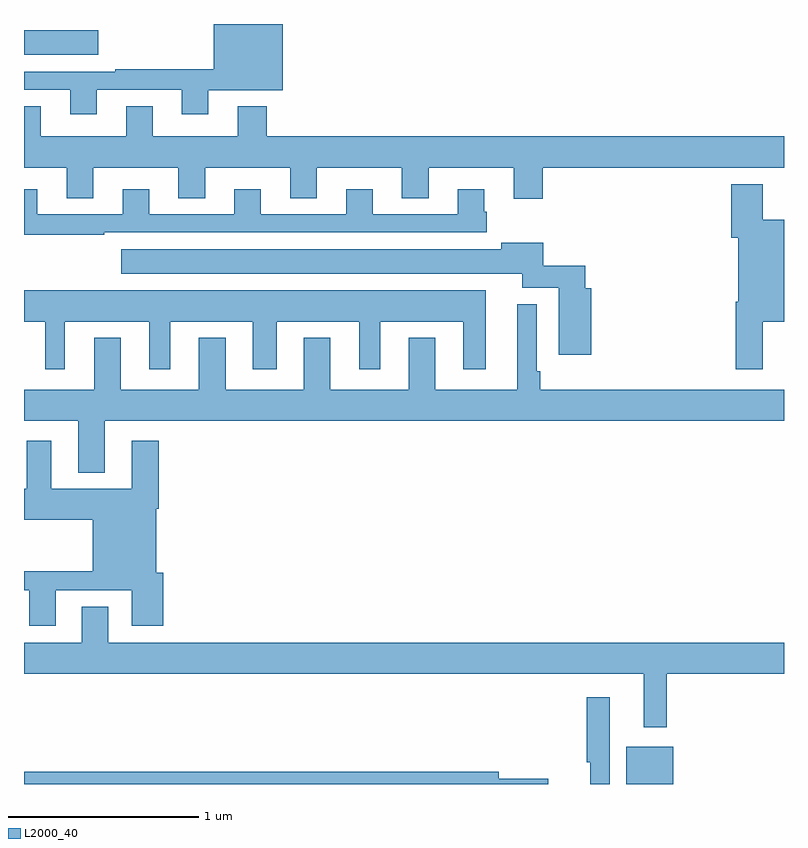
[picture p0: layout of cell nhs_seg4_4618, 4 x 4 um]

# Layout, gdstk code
import gdstk
lib = gdstk.Library(unit=1e-6, precision=1e-09)
def R(c, l, rs):  # rectangles x0, y0, x1, y1
    for r in rs: c.add(gdstk.rectangle(r[:2], r[2:], *l))
def P(c, l, *ps):  # polygons
    for p in ps: c.add(gdstk.Polygon(p, *l))
L2000_40 = (2000, 40)

nhs_seg4_4618 = lib.new_cell('nhs_seg4_4618')
R(nhs_seg4_4618, L2000_40, [(362.171,802.9,362.416,803.095), (359,806.738,359.392,806.866)])
P(nhs_seg4_4618, L2000_40, [(359.383,806.553),(359.831,806.553),(359.831,806.424),(359.971,806.424),(359.971,806.552),(360.361,806.552),(360.361,806.9),(359.999,806.9),(359.999,806.662),(359.479,806.662),(359.479,806.649),(359,806.649),(359,806.553),(359.243,806.553),(359.243,806.424),(359.383,806.424)],
  [(360.125,806.467),(360.125,806.308),(359.677,806.308),(359.677,806.468),(359.537,806.468),(359.537,806.308),(359.089,806.308),(359.089,806.468),(359,806.468),(359,806.144),(359.225,806.144),(359.225,805.984),(359.365,805.984),(359.365,806.144),(359.813,806.144),(359.813,805.984),(359.953,805.984),(359.953,806.144),(360.401,806.144),(360.401,805.984),(360.541,805.984),(360.541,806.144),(360.989,806.144),(360.989,805.984),(361.129,805.984),(361.129,806.144),(361.577,806.144),(361.577,805.98),(361.73,805.98),(361.73,806.144),(363,806.144),(363,806.308),(360.278,806.308),(360.278,806.467)],
  [(362.887,805.334),(363,805.334),(363,805.869),(362.887,805.869),(362.887,806.056),(362.723,806.056),(362.723,805.776),(362.759,805.776),(362.759,805.438),(362.747,805.438),(362.747,805.083),(362.887,805.083)],
  [(359.423,805.803),(361.436,805.803),(361.436,805.911),(361.423,805.911),(361.423,806.029),(361.283,806.029),(361.283,805.899),(360.835,805.899),(360.835,806.029),(360.695,806.029),(360.695,805.899),(360.247,805.899),(360.247,806.029),(360.107,806.029),(360.107,805.899),(359.659,805.899),(359.659,806.029),(359.519,806.029),(359.519,805.899),(359.071,805.899),(359.071,806.029),(359,806.029),(359,805.791),(359.423,805.791)],
  [(361.985,805.51),(361.955,805.51),(361.955,805.628),(361.732,805.628),(361.732,805.75),(361.511,805.75),(361.511,805.714),(359.511,805.714),(359.511,805.586),(361.622,805.586),(361.622,805.512),(361.814,805.512),(361.814,805.158),(361.985,805.158)],
  [(359.215,805.334),(359.66,805.334),(359.66,805.083),(359.77,805.083),(359.77,805.334),(360.203,805.334),(360.203,805.083),(360.331,805.083),(360.331,805.334),(360.764,805.334),(360.764,805.083),(360.874,805.083),(360.874,805.334),(361.313,805.334),(361.313,805.083),(361.429,805.083),(361.429,805.498),(359,805.498),(359,805.334),(359.111,805.334),(359.111,805.083),(359.215,805.083)],
  [(359.425,804.812),(363,804.812),(363,804.976),(361.717,804.976),(361.717,805.072),(361.699,805.072),(361.699,805.426),(361.595,805.426),(361.595,804.976),(361.165,804.976),(361.165,805.249),(361.025,805.249),(361.025,804.976),(360.613,804.976),(360.613,805.249),(360.473,805.249),(360.473,804.976),(360.061,804.976),(360.061,805.249),(359.921,805.249),(359.921,804.976),(359.509,804.976),(359.509,805.249),(359.369,805.249),(359.369,804.976),(359,804.976),(359,804.812),(359.285,804.812),(359.285,804.539),(359.425,804.539)],
  [(359.167,803.919),(359.567,803.919),(359.567,803.733),(359.732,803.733),(359.732,804.012),(359.695,804.012),(359.695,804.35),(359.708,804.35),(359.708,804.706),(359.567,804.706),(359.567,804.454),(359.143,804.454),(359.143,804.706),(359.015,804.706),(359.015,804.454),(359,804.454),(359,804.29),(359.363,804.29),(359.363,804.02),(359,804.02),(359,803.919),(359.027,803.919),(359.027,803.733),(359.167,803.733)],
  [(362.383,803.48),(363,803.48),(363,803.644),(359.443,803.644),(359.443,803.834),(359.303,803.834),(359.303,803.644),(359,803.644),(359,803.48),(362.261,803.48),(362.261,803.199),(362.383,803.199)],
  [(362.083,803.356),(361.962,803.356),(361.962,803.015),(361.979,803.015),(361.979,802.9),(362.083,802.9)],
  [(361.759,802.928),(361.498,802.928),(361.498,802.964),(359,802.964),(359,802.9),(361.759,802.9)])

lib.write_gds('nhs_seg4_4618.gds')
